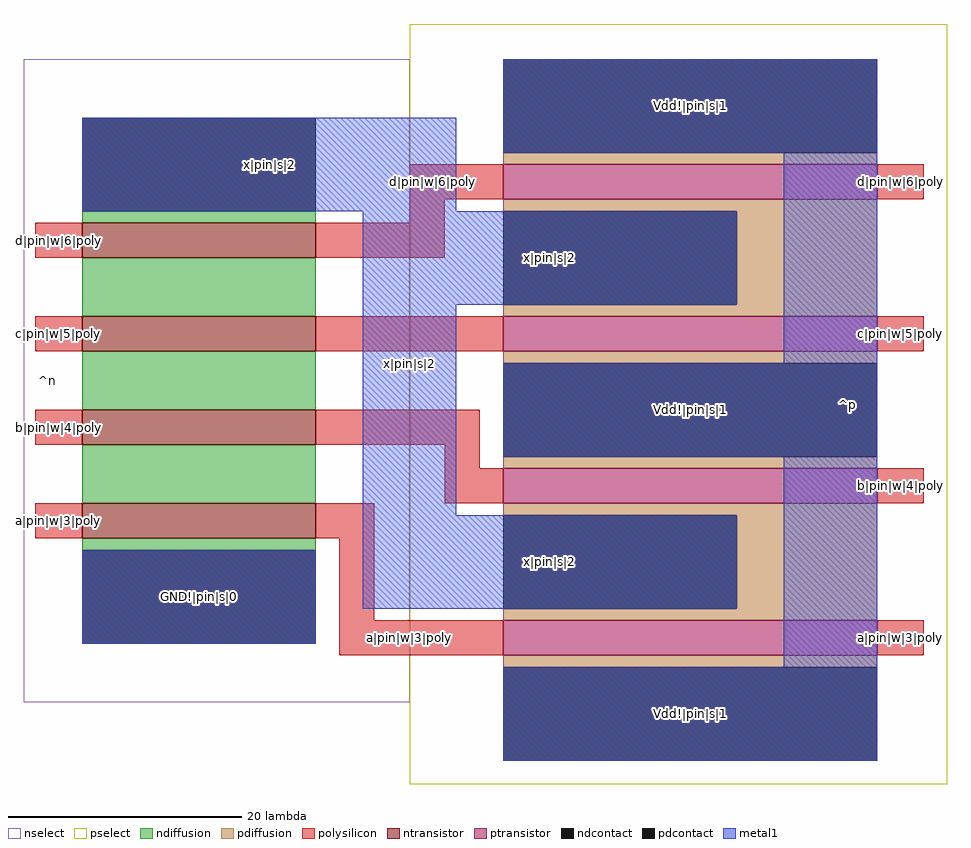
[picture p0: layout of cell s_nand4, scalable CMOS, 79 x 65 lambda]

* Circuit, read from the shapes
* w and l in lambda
.subckt s_nand4 GND!|pin|s|0 Vdd!|pin|s|1 a|pin|w|3|poly b|pin|w|4|poly c|pin|w|5|poly d|pin|w|6|poly x|pin|s|2
M1 n1 a|pin|w|3|poly GND!|pin|s|0 VSUBS nfet w=20 l=3
M2 n2 b|pin|w|4|poly n1 VSUBS nfet w=20 l=3
M3 n3 c|pin|w|5|poly n2 VSUBS nfet w=20 l=3
M4 x|pin|s|2 d|pin|w|6|poly n3 VSUBS nfet w=20 l=3
M5 x|pin|s|2 a|pin|w|3|poly Vdd!|pin|s|1 NWELL pfet w=32 l=3
M6 Vdd!|pin|s|1 b|pin|w|4|poly x|pin|s|2 NWELL pfet w=32 l=3
M7 x|pin|s|2 c|pin|w|5|poly Vdd!|pin|s|1 NWELL pfet w=32 l=3
M8 Vdd!|pin|s|1 d|pin|w|6|poly x|pin|s|2 NWELL pfet w=32 l=3
.ends

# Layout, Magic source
magic
tech scmos
<< nselect >>
rect -33 492 0 547
<< pselect >>
rect 0 485 46 550
<< ndiffusion >>
rect -28 533 -8 534
rect -28 525 -8 530
rect -28 517 -8 522
rect -28 509 -8 514
rect -28 505 -8 506
<< pdiffusion >>
rect 8 538 40 539
rect 8 534 40 535
rect 28 526 40 534
rect 8 525 40 526
rect 8 521 40 522
rect 8 512 40 513
rect 8 508 40 509
rect 28 500 40 508
rect 8 499 40 500
rect 8 495 40 496
<< ntransistor >>
rect -28 530 -8 533
rect -28 522 -8 525
rect -28 514 -8 517
rect -28 506 -8 509
<< ptransistor >>
rect 8 535 40 538
rect 8 522 40 525
rect 8 509 40 512
rect 8 496 40 499
<< polysilicon >>
rect 0 535 8 538
rect 40 535 44 538
rect 0 533 3 535
rect -32 530 -28 533
rect -8 530 3 533
rect -32 522 -28 525
rect -8 522 8 525
rect 40 522 44 525
rect -32 514 -28 517
rect -8 514 6 517
rect 3 512 6 514
rect 3 509 8 512
rect 40 509 44 512
rect -32 506 -28 509
rect -8 506 -3 509
rect -6 499 -3 506
rect -6 496 8 499
rect 40 496 44 499
<< ndcontact >>
rect -28 534 -8 542
rect -28 497 -8 505
<< pdcontact >>
rect 8 539 40 547
rect 8 526 28 534
rect 8 513 40 521
rect 8 500 28 508
rect 8 487 40 495
<< metal1 >>
rect -28 534 4 542
rect 8 539 40 547
rect -4 526 28 534
rect -4 508 4 526
rect 32 521 40 539
rect 8 513 40 521
rect -28 497 -8 505
rect -4 500 28 508
rect 32 495 40 513
rect 8 487 40 495
<< labels >>
rlabel space -34 491 -28 548 7 ^n
rlabel space 28 485 47 550 3 ^p
rlabel metal1 -28 497 -8 505 1 GND!|pin|s|0
rlabel metal1 8 513 40 521 1 Vdd!|pin|s|1
rlabel metal1 32 487 40 547 1 Vdd!|pin|s|1
rlabel metal1 -4 500 4 542 1 x|pin|s|2
rlabel metal1 -28 534 4 542 1 x|pin|s|2
rlabel metal1 -4 526 28 534 1 x|pin|s|2
rlabel metal1 -4 500 28 508 1 x|pin|s|2
rlabel polysilicon 40 496 44 499 1 a|pin|w|3|poly
rlabel polysilicon -2 496 2 499 1 a|pin|w|3|poly
rlabel polysilicon -32 506 -28 509 1 a|pin|w|3|poly
rlabel polysilicon 40 509 44 512 1 b|pin|w|4|poly
rlabel polysilicon -32 514 -28 517 1 b|pin|w|4|poly
rlabel polysilicon -32 522 -28 525 1 c|pin|w|5|poly
rlabel polysilicon 40 522 44 525 1 c|pin|w|5|poly
rlabel polysilicon 40 535 44 538 1 d|pin|w|6|poly
rlabel polysilicon 0 535 4 538 1 d|pin|w|6|poly
rlabel polysilicon -32 530 -28 533 1 d|pin|w|6|poly
rlabel metal1 8 539 40 547 1 Vdd!|pin|s|1
rlabel metal1 8 487 40 495 1 Vdd!|pin|s|1
<< end >>
